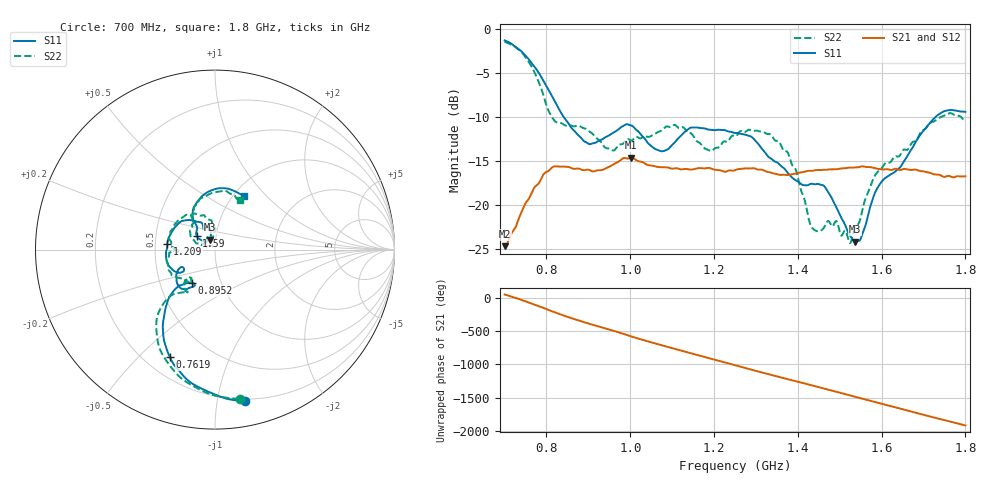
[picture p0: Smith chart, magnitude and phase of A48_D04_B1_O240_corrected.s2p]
! Created with skrf 1.9.0 (http://scikit-rf.org).
# Hz S RI R 50.0
!freq ReS11 ImS11 ReS21 ImS21 ReS12 ImS12 ReS22 ImS22
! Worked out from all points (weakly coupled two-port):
!   1601 points, 700 MHz to 1.8 GHz, reference 50 ohm
!   highest |S21| = -14.60 dB at 1.002 GHz (marker M1); lowest = -24.6 dB at 700 MHz (marker M2)
!   lowest |S11| = -24.1 dB at 1.537 GHz (marker M3), VSWR 1.13, Z = 46.9 + j5.22 ohm
!   |S11| at or under -10 dB: 841.1 MHz to 1.729 GHz (887.5 MHz wide, 69.1 % of centre)
!   |S22| runs from -24.3 to -1.5 dB; largest |S21 - S12| = 0.0033
!   S11 on the Smith chart (normalised r, x): 700 MHz: 0.19, -1.20; 761.9 MHz: 0.30, -0.62; 895.2 MHz: 0.72, -0.28; 1.209 GHz: 0.58, +0.04; 1.59 GHz: 0.81, +0.12; 1.8 GHz: 1.12, +0.75
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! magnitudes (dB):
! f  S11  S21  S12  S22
! 700 MHz  -1.3  -24.6  -24.4  -1.5
! 761.9 MHz  -3.7  -18.9  -18.8  -4.1
! 817.6 MHz  -8.0  -15.6  -15.7  -10.3
! 883.6 MHz  -12.4  -15.9  -15.8  -11.1
! 895.2 MHz  -12.9  -16.0  -16.1  -11.4
! 956.4 MHz  -11.9  -15.5  -15.5  -13.7
! 1.002 GHz  -10.9  -14.6  -14.7  -12.7
! 1.067 GHz  -13.8  -15.7  -15.6  -11.7
! 1.144 GHz  -11.2  -16.0  -15.9  -11.8
! 1.209 GHz  -11.4  -16.0  -16.0  -13.5
! 1.25 GHz  -11.8  -16.0  -15.9  -12.2
! 1.355 GHz  -15.3  -16.5  -16.5  -12.8
! 1.395 GHz  -17.2  -16.4  -16.4  -16.0
! 1.434 GHz  -17.5  -16.1  -16.1  -22.5
! 1.466 GHz  -18.0  -16.0  -15.9  -22.2
! 1.524 GHz  -23.4  -15.7  -15.7  -24.3
! 1.537 GHz  -24.1  -15.7  -15.7  -22.6
! 1.552 GHz  -23.5  -15.6  -15.6  -20.9
! 1.59 GHz  -18.0  -15.9  -15.8  -16.2
! 1.617 GHz  -16.6  -15.9  -15.9  -15.2
! 1.731 GHz  -9.9  -16.5  -16.5  -10.3
! 1.8 GHz  -9.4  -16.7  -16.7  -10.2
